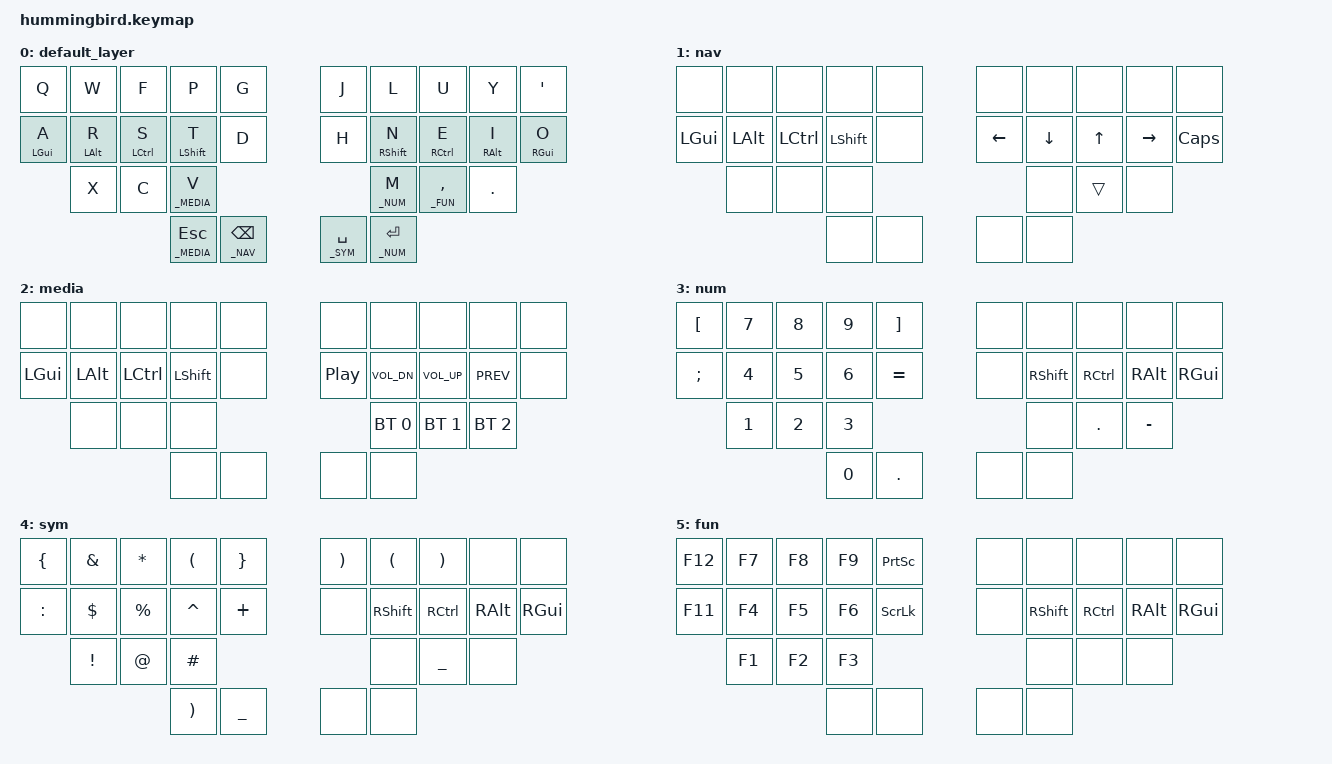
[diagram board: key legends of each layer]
/*
 * Copyright (c) 2020 The ZMK Contributors
 *
 * SPDX-License-Identifier: MIT
 */

#include <behaviors.dtsi>
#include <dt-bindings/zmk/keys.h>
#include <dt-bindings/zmk/bt.h>

#define             _BASE    0
#define             _NAV     1
#define             _MEDIA   2
#define             _NUM     3
#define             _SYM     4
#define             _FUN     5

#define VOL_U       &kp C_VOL_UP
#define VOL_D       &kp C_VOL_DN
#define PB          &kp PAUSE_BREAK

#define BT0         &bt BT_SEL 0
#define BT1         &bt BT_SEL 1
#define BT2         &bt BT_SEL 2
#define BT3         &bt BT_SEL 3

#define SPC_SYM     &lt _SYM   SPC
#define V_MED       &lt _MEDIA V
#define ESC_MED     &lt _MEDIA ESC
#define B_NAV       &lt _NAV   B
#define BSPC_NAV    &lt _NAV   BSPC
#define K_SYM       &lt _SYM   K
#define M_NUM       &lt _NUM   M
#define RET_NUM     &lt _NUM   RET
#define COMMA_FUN   &lt _FUN   COMMA

#define A_GUI       &hm LGUI  A
#define R_ALT       &hm LALT  R
#define S_CTRL      &hm LCTRL S
#define T_SHFT      &hm LSHFT T

#define N_SHFT      &hm RSHFT N
#define E_CTRL      &hm RCTRL E
#define I_ALT       &hm RALT  I
#define O_GUI       &hm RGUI  O

&kscan0 {
    debounce-period  = <12>;
};

&mt {
    tapping-term-ms = <185>;
    quick-tap-ms = <185>;
};

&lt {
    flavor = "balanced";
    tapping-term-ms = <185>;
    quick-tap-ms = <185>;
};

&caps_word {
    continue-list = <UNDERSCORE MINUS BACKSPACE>;
};

/ { 

        combos {
            compatible = "zmk,combos";

            combo_esc {
                timeout-ms = <20>;
                key-positions = <11 12>;
                bindings = <&kp ESC>;
                layers = <0 1 2 3 4 5>;
            };

            combo_tab {
                timeout-ms = <20>;
                key-positions = <12 13>;
                bindings = <&kp TAB>;
                layers = <0 1 2 3 4 5>;
            };

            combo_ret {
                timeout-ms = <20>;
                key-positions = <17 18>;
                bindings = <&kp RET>;
                layers = <0 1 2 3 4 5>;
            };
            
            combo_caps_word {
                timeout-ms = <20>;
                key-positions = <21 22>;
                bindings = <&caps_word>;
                layers = <0 1 2 3 4 5>;
            };
            
            combo_fun {
                timeout-ms = <20>;
                key-positions = <31 32>;
                bindings = <&mo _FUN>;
                layers = <0 1 2 3 4 5>;
            };
            
            combo_k {
                timeout-ms = <20>;
                key-positions = <16 28>;
                bindings = <&kp K>;
                layers = <0 1 2 3 4 5>;
                slow-release;
            };
            
            combo_k_new {
                timeout-ms = <20>;
                key-positions = <15 16>;
                bindings = <&kp K>;
                layers = <0>;
                slow-release;
            };

            combo_z {
                timeout-ms = <20>;
                key-positions = <10 11>;
                bindings = <&kp Z>;
                layers = <0>;
            };
            
            // Slash position combos
            combo_slash {
                timeout-ms = <20>;
                key-positions = <18 19>;
                bindings = <&kp SLASH>;
                layers = <0>;
            };
            combo_bt3 {
                timeout-ms = <20>;
                key-positions = <18 19>;
                bindings = <&bt BT_SEL 3>;
                layers = <0>;
            };


            // B position combos
            combo_b {
                timeout-ms = <20>;
                key-positions = <13 27>;
                bindings = <&kp B>;
                layers = <0>;
                slow-release;
            };
            combo_b_minus {
                timeout-ms = <20>;
                key-positions = <13 27>;
                bindings = <&kp MINUS>;
                layers = <3>;
            };
            combo_b_underscore {
                timeout-ms = <20>;
                key-positions = <13 27>;
                bindings = <&kp UNDER>;
                layers = <4>;
            };
            
            combo_new_b {
                timeout-ms = <20>;
                key-positions = <13 14>;
                bindings = <&kp B>;
                layers = <0>;
                slow-release;
            };
            combo_new_b_minus {
                timeout-ms = <20>;
                key-positions = <13 14>;
                bindings = <&kp MINUS>;
                layers = <3>;
            };
            combo_new_b_underscore {
                timeout-ms = <20>;
                key-positions = <13 14>;
                bindings = <&kp UNDER>;
                layers = <4>;
            };
        };
    
        behaviors {
            hm: homerow_mods {
                compatible = "zmk,behavior-hold-tap";
                label = "HOMEROW_MODS";
                #binding-cells = <2>;
                tapping-term-ms = <220>;
                quick-tap-ms = <20>;
                flavor = "tap-preferred";
                bindings = <&kp>, <&kp>;
            };
        };

        keymap {
            compatible = "zmk,keymap";
                
       		default_layer {
		bindings = <
            &kp Q       &kp W       &kp F       &kp P       &kp G       /**/ /**/       &kp J       &kp L       &kp U       &kp Y       &kp SQT
            A_GUI       R_ALT       S_CTRL      T_SHFT      &kp D 	    /**/ /**/	    &kp H       N_SHFT      E_CTRL      I_ALT       O_GUI
            /*z*/       &kp X       &kp C       V_MED       /*b*/       /**/ /**/       /*k*/       M_NUM       COMMA_FUN   &kp DOT     /*SLASH*/
                                                ESC_MED     BSPC_NAV                    SPC_SYM     RET_NUM
		>;
		};

       		nav {
		bindings = <
            &none       &none       &none       &none       &none       /**/ /**/       &none       &none       &none       &none       &none  
            &kp LGUI    &kp LALT    &kp LCTRL   &kp LSHFT   &none       /**/ /**/       &kp LEFT    &kp DOWN    &kp UP      &kp RIGHT   &kp CAPS
                        &none       &none       &none                   /**/ /**/                   &none       &trans      &none
                                                &none       &none                       &none       &none
		>;
		};
		
            media {
		bindings = <
            &none       &none       &none       &none       &none       /**/ /**/  	    &none       &none       &none       &none       &none  
            &kp LGUI    &kp LALT    &kp LCTRL   &kp LSHFT   &none       /**/ /**/       &kp C_PP    VOL_D       VOL_U       &kp C_PREV  &none
                        &none       &none       &none                   /**/ /**/                   BT0         BT1         BT2         /*BT3*/
                                                &none       &none                       &none       &none
		>;
		};	
		
            num {
		bindings = <
            &kp LBKT    &kp N7      &kp N8      &kp N9      &kp RBKT    /**/ /**/  	    &none       &none       &none       &none       &none 
            &kp SEMI    &kp N4      &kp N5      &kp N6      &kp EQUAL   /**/ /**/       &none       &kp RSHFT   &kp RCTRL   &kp RALT    &kp RGUI
            /*`*/       &kp N1      &kp N2      &kp N3      /*BSLH*/    /**/ /**/                   &none       &kp DOT     &kp MINUS
                                                &kp N0      &kp DOT                     &none       &none
		>;
		};	
		
            sym {
		bindings = <
            &kp LBRC    &kp AMPS    &kp STAR    &kp LPAR    &kp RBRC    /**/ /**/       &kp RPAR    &kp LPAR    &kp RPAR    &none       &none 
            &kp COLON   &kp DLLR    &kp PERCENT &kp CARET   &kp PLUS    /**/ /**/       &none       &kp RSHFT   &kp RCTRL   &kp RALT    &kp RGUI
            /*~*/       &kp EXCL    &kp AT      &kp HASH    /*PIPE*/    /**/ /**/       &none       &kp UNDER   &none
                                                &kp RPAR    &kp UNDER                   &none       &none
		>;
		};	

            fun {
		bindings = <
            &kp F12     &kp F7      &kp F8      &kp F9      &kp PSCRN   /**/ /**/	    &none       &none       &none       &none       &none 
            &kp F11     &kp F4      &kp F5      &kp F6      &kp SLCK    /**/ /**/       &none       &kp RSHFT   &kp RCTRL   &kp RALT    &kp RGUI
            /*F10*/     &kp F1      &kp F2      &kp F3      /*PB*/      /**/ /**/                   &none       &none       &none
                                                &none       &none                       &none       &none
		>;
		};	
		
	};
};
